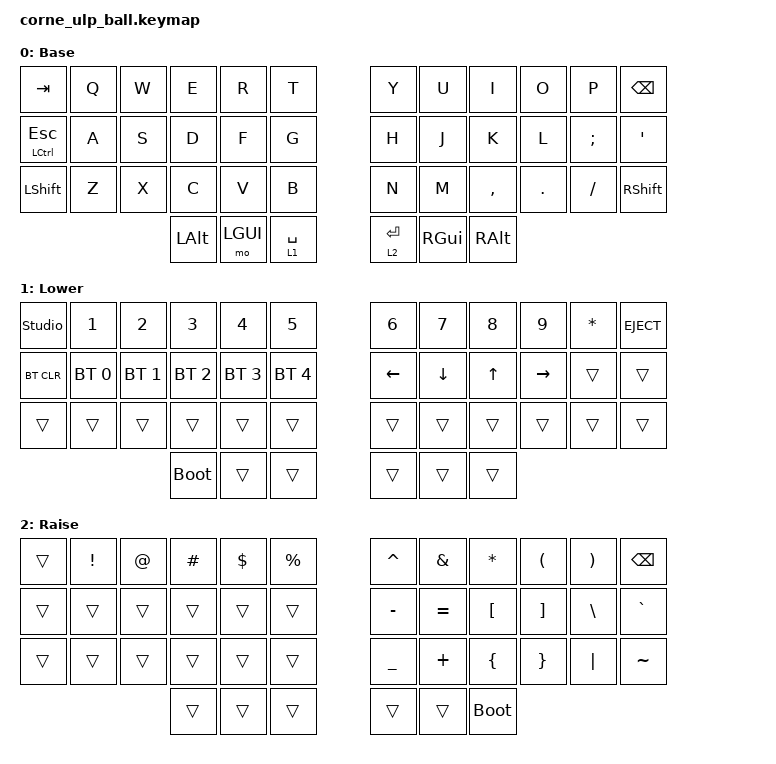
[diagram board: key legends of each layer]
// This file was generated from a template. Edit it to match your keyboard.
// See https://zmk.dev/docs/development/hardware-integration/new-shield for more instructions.

#include <behaviors.dtsi>
#include <dt-bindings/zmk/keys.h>
#include <dt-bindings/zmk/bt.h>

/ {
    // Define a default keymap here.
    // See https://zmk.dev/docs/development/hardware-integration/new-shield#default-keymap.
    keymap {
        compatible = "zmk,keymap";

        base_layer {
            display-name = "Base";
            bindings = <
   &kp TAB       &kp Q &kp W &kp E    &kp R    &kp T         &kp Y     &kp U    &kp I     &kp O   &kp P    &kp BSPC
   &mt LCTRL ESC &kp A &kp S &kp D    &kp F    &kp G         &kp H     &kp J    &kp K     &kp L   &kp SEMI &kp SQT
   &kp LSHFT     &kp Z &kp X &kp C    &kp V    &kp B         &kp N     &kp M    &kp COMMA &kp DOT &kp FSLH &kp RSHFT
                             &kp LALT &mo LGUI &lt 1 SPACE   &lt 2 RET &kp RGUI &kp RALT
            >;
        };
        lower_layer {
            display-name = "Lower";
            bindings = <
   &studio_unlock &kp N1       &kp N2       &kp N3       &kp N4       &kp N5         &kp N6   &kp N7   &kp N8 &kp N9    &kp ASTRK &kp C_EJECT
   &bt BT_CLR     &bt BT_SEL 0 &bt BT_SEL 1 &bt BT_SEL 2 &bt BT_SEL 3 &bt BT_SEL 4   &kp LEFT &kp DOWN &kp UP &kp RIGHT &trans    &trans
   &trans         &trans       &trans       &trans       &trans       &trans         &trans   &trans   &trans &trans    &trans    &trans
                                            &bootloader  &trans       &trans         &trans   &trans   &trans
            >;
        };

        raise_layer {
            display-name = "Raise";
            bindings = <
    &trans &kp EXCL &kp AT &kp HASH &kp DLLR &kp PRCNT   &kp CARET &kp AMPS  &kp ASTRK &kp LPAR &kp RPAR &kp BSPC
    &trans &trans   &trans &trans   &trans   &trans      &kp MINUS &kp EQUAL &kp LBKT  &kp RBKT &kp BSLH &kp GRAVE
    &trans &trans   &trans &trans   &trans   &trans      &kp UNDER &kp PLUS  &kp LBRC  &kp RBRC &kp PIPE &kp TILDE
                            &trans   &trans   &trans      &trans    &trans    &bootloader
            >;
        };
    };
};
